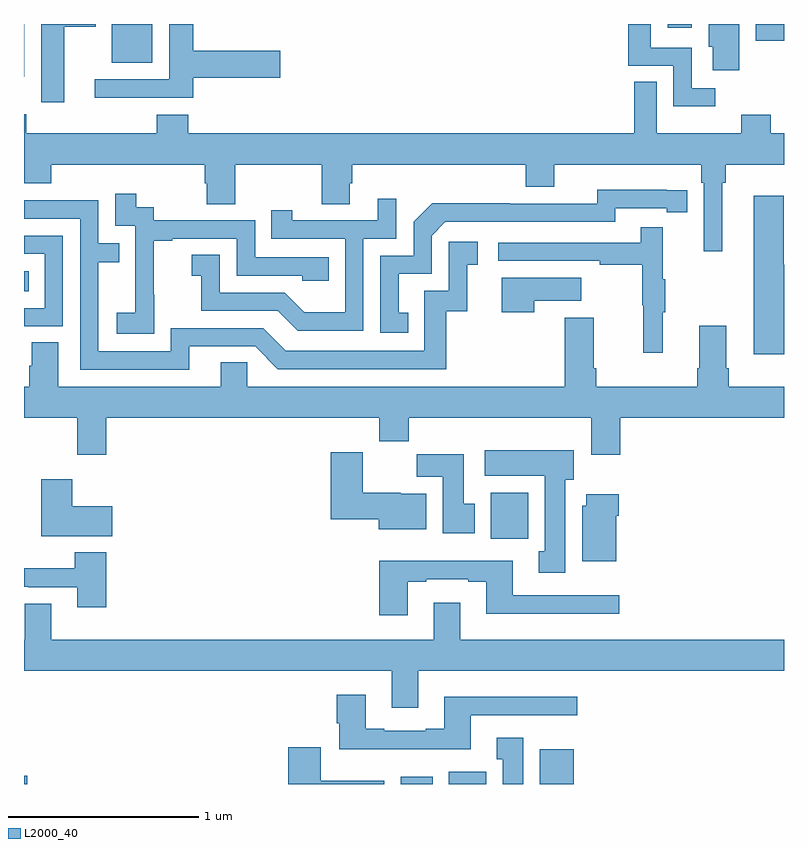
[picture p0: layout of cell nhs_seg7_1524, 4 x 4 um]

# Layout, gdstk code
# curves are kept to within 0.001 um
import gdstk
lib = gdstk.Library(unit=1e-6, precision=1e-09)
def R(c, l, rs):  # rectangles x0, y0, x1, y1
    for r in rs: c.add(gdstk.rectangle(r[:2], r[2:], *l))
def P(c, l, *ps):  # polygons
    for p in ps: c.add(gdstk.Polygon(p, *l))
L2000_40 = (2000, 40)

nhs_seg7_1524 = lib.new_cell('nhs_seg7_1524')
R(nhs_seg7_1524, L2000_40, [(215,1020,215.017,1020.044), (216.983,1020,217.15,1020.037), (217.235,1020,217.432,1020.064), (217.715,1020,217.894,1020.184), (217.457,1021.292,217.654,1021.534), (215,1022.594,215.024,1022.698), (215,1023.722,215.002,1024), (215.462,1023.797,215.674,1024), (218.852,1023.912,219,1024), (218.387,1023.981,218.514,1024)])
P(nhs_seg7_1524, L2000_40, [(218.764,1024),(218.603,1024),(218.603,1023.879),(218.624,1023.879),(218.624,1023.756),(218.764,1023.756)],
  [(215.212,1023.986),(215.377,1023.986),(215.377,1024),(215.09,1024),(215.09,1023.588),(215.212,1023.588)],
  [(218.638,1023.663),(218.514,1023.663),(218.514,1023.876),(218.299,1023.876),(218.299,1024),(218.181,1024),(218.181,1023.78),(218.418,1023.78),(218.418,1023.566),(218.638,1023.566)],
  [(215.891,1023.718),(216.349,1023.718),(216.349,1023.86),(215.891,1023.86),(215.891,1024),(215.765,1024),(215.765,1023.708),(215.373,1023.708),(215.373,1023.611),(215.891,1023.611)],
  [(215.699,1023.523),(215.699,1023.424),(215.012,1023.424),(215.012,1023.525),(215,1023.525),(215,1023.161),(215.144,1023.161),(215.144,1023.26),(215.951,1023.26),(215.951,1023.162),(215.963,1023.162),(215.963,1023.052),(216.111,1023.052),(216.111,1023.26),(216.568,1023.26),(216.568,1023.052),(216.715,1023.052),(216.715,1023.162),(216.728,1023.162),(216.728,1023.26),(217.64,1023.26),(217.64,1023.143),(217.792,1023.143),(217.792,1023.26),(218.564,1023.26),(218.564,1023.164),(218.577,1023.164),(218.577,1022.805),(218.674,1022.805),(218.674,1023.164),(218.693,1023.164),(218.693,1023.26),(219,1023.26),(219,1023.424),(218.931,1023.424),(218.931,1023.523),(218.776,1023.523),(218.776,1023.424),(218.329,1023.424),(218.329,1023.695),(218.211,1023.695),(218.211,1023.424),(215.864,1023.424),(215.864,1023.523)],
  [(217.022,1022.481),(216.973,1022.481),(216.973,1022.685),(217.146,1022.685),(217.146,1022.886),(217.218,1022.958),(218.112,1022.958),(218.112,1023.03),(218.384,1023.03),(218.384,1023.01),(218.492,1023.01),(218.492,1023.126),(218.016,1023.127),(218.016,1023.054),(217.556,1023.054),(217.556,1023.056),(217.148,1023.056),(217.05,1022.958),(217.05,1022.781),(216.876,1022.781),(216.876,1022.376),(217.022,1022.376)],
  [(215.685,1022.575),(215.684,1022.575),(215.684,1022.859),(215.779,1022.859),(215.779,1022.871),(216.12,1022.871),(216.12,1022.676),(216.465,1022.676),(216.465,1022.649),(216.605,1022.649),(216.605,1022.772),(216.216,1022.772),(216.216,1022.967),(215.682,1022.967),(215.682,1023.036),(215.59,1023.036),(215.59,1023.106),(215.481,1023.106),(215.481,1022.937),(215.586,1022.937),(215.586,1022.708),(215.585,1022.708),(215.585,1022.479),(215.487,1022.479),(215.487,1022.369),(215.685,1022.369)],
  [(219,1022.733),(218.999,1022.733),(218.999,1023.097),(218.84,1023.097),(218.84,1022.262),(219,1022.262)],
  [(216.786,1022.871),(216.96,1022.871),(216.96,1023.079),(216.863,1023.079),(216.863,1022.967),(216.412,1022.967),(216.412,1023.019),(216.301,1023.019),(216.301,1022.871),(216.69,1022.871),(216.69,1022.482),(216.476,1022.482),(216.372,1022.586),(216.03,1022.586),(216.03,1022.785),(215.883,1022.785),(215.883,1022.675),(215.932,1022.675),(215.932,1022.49),(216.335,1022.49),(216.44,1022.385),(216.786,1022.385)],
  [(215.869,1022.304),(216.216,1022.304),(216.336,1022.184),(217.223,1022.184),(217.223,1022.487),(217.334,1022.487),(217.334,1022.733),(217.387,1022.733),(217.387,1022.854),(217.236,1022.854),(217.236,1022.595),(217.107,1022.595),(217.107,1022.28),(216.378,1022.28),(216.258,1022.4),(215.772,1022.4),(215.772,1022.277),(215.391,1022.277),(215.391,1022.746),(215.501,1022.746),(215.501,1022.847),(215.391,1022.847),(215.391,1023.072),(215,1023.072),(215,1022.976),(215.295,1022.976),(215.295,1022.181),(215.869,1022.181)],
  [(218.363,1022.483),(218.374,1022.483),(218.374,1022.657),(218.363,1022.657),(218.363,1022.929),(218.245,1022.929),(218.245,1022.85),(217.497,1022.85),(217.497,1022.754),(218.029,1022.754),(218.029,1022.734),(218.253,1022.734),(218.253,1022.52),(218.26,1022.52),(218.26,1022.271),(218.363,1022.271)],
  [(215.205,1022.886),(215,1022.886),(215,1022.79),(215.109,1022.79),(215.109,1022.505),(215,1022.505),(215,1022.409),(215.205,1022.409)],
  [(217.685,1022.543),(217.933,1022.543),(217.933,1022.665),(217.514,1022.665),(217.514,1022.484),(217.685,1022.484)],
  [(215.432,1021.928),(216.869,1021.928),(216.869,1021.804),(217.025,1021.804),(217.025,1021.928),(217.985,1021.928),(217.985,1021.734),(218.138,1021.734),(218.138,1021.928),(219,1021.928),(219,1022.092),(218.708,1022.092),(218.708,1022.188),(218.695,1022.188),(218.695,1022.413),(218.555,1022.413),(218.555,1022.188),(218.543,1022.188),(218.543,1022.092),(218.012,1022.092),(218.012,1022.188),(217.999,1022.188),(217.999,1022.455),(217.847,1022.455),(217.847,1022.092),(216.174,1022.092),(216.174,1022.219),(216.035,1022.219),(216.035,1022.092),(215.179,1022.092),(215.179,1022.324),(215.04,1022.324),(215.04,1022.201),(215.027,1022.201),(215.027,1022.092),(215,1022.092),(215,1021.928),(215.279,1021.928),(215.279,1021.734),(215.432,1021.734)],
  [(217.849,1021.602),(217.894,1021.602),(217.894,1021.756),(217.425,1021.756),(217.425,1021.622),(217.742,1021.622),(217.742,1021.226),(217.709,1021.226),(217.709,1021.113),(217.849,1021.113)],
  [(217.117,1021.528),(216.984,1021.528),(216.984,1021.534),(216.784,1021.534),(216.784,1021.747),(216.614,1021.747),(216.614,1021.394),(216.866,1021.394),(216.866,1021.34),(217.117,1021.34)],
  [(217.372,1021.476),(217.315,1021.476),(217.315,1021.735),(217.066,1021.735),(217.066,1021.616),(217.205,1021.616),(217.205,1021.32),(217.372,1021.32)],
  [(215.464,1021.462),(215.254,1021.462),(215.254,1021.603),(215.09,1021.603),(215.09,1021.304),(215.464,1021.304)],
  [(218.116,1021.412),(218.129,1021.412),(218.129,1021.525),(217.958,1021.525),(217.958,1021.464),(217.937,1021.464),(217.937,1021.172),(218.116,1021.172)],
  [(215.432,1021.219),(215.267,1021.219),(215.267,1021.135),(215,1021.135),(215,1021.038),(215.023,1021.038),(215.023,1021.035),(215.279,1021.035),(215.279,1020.93),(215.432,1020.93)],
  [(217.021,1021.065),(217.117,1021.065),(217.117,1021.077),(217.337,1021.077),(217.337,1021.065),(217.433,1021.065),(217.433,1020.896),(218.134,1020.896),(218.134,1020.993),(217.573,1020.993),(217.573,1021.174),(216.869,1021.174),(216.869,1020.888),(217.021,1020.888)],
  [(217.075,1020.596),(219,1020.596),(219,1020.76),(217.297,1020.76),(217.297,1020.955),(217.157,1020.955),(217.157,1020.76),(215.143,1020.76),(215.143,1020.95),(215.003,1020.95),(215.003,1020.76),(215,1020.76),(215,1020.596),(216.935,1020.596),(216.935,1020.402),(217.075,1020.402)],
  [(217.351,1020.363),(217.912,1020.363),(217.912,1020.46),(217.211,1020.46),(217.211,1020.292),(217.115,1020.292),(217.115,1020.279),(216.895,1020.279),(216.895,1020.292),(216.799,1020.292),(216.799,1020.469),(216.647,1020.469),(216.647,1020.321),(216.659,1020.321),(216.659,1020.182),(217.351,1020.182)],
  [(217.627,1020.244),(217.487,1020.244),(217.487,1020.131),(217.52,1020.131),(217.52,1020),(217.627,1020)],
  [(216.895,1020.016),(216.562,1020.016),(216.562,1020.193),(216.392,1020.193),(216.392,1020),(216.895,1020)])

lib.write_gds('nhs_seg7_1524.gds')
